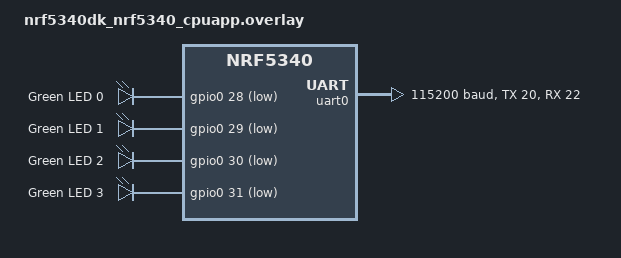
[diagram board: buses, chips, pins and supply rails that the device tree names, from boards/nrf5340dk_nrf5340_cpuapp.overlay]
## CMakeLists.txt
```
# SPDX-License-Identifier: Apache-2.0

cmake_minimum_required(VERSION 3.20.0)

# Set the board if not specified
if(NOT DEFINED BOARD)
    set(BOARD nrf5340dk_nrf5340_cpuapp)
endif()

# Find Zephyr package
find_package(Zephyr REQUIRED HINTS $ENV{ZEPHYR_BASE})

# Project definition
project(nrf5340_led_demo VERSION 1.0.0 LANGUAGES C)

# Add source files
target_sources(app PRIVATE src/main.c)

# Add include directories if needed
# target_include_directories(app PRIVATE include)

# Add compiler definitions
target_compile_definitions(app PRIVATE
    PROJECT_NAME="nRF5340 LED Demo"
    PROJECT_VERSION="${PROJECT_VERSION}"
)

# Optional: Add custom build configurations
if(CONFIG_DEBUG)
    target_compile_options(app PRIVATE -g -O0)
else()
    target_compile_options(app PRIVATE -O2)
endif()
```

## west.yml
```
# west.yml - West manifest for nRF5340 LED Demo
#
# This file defines the project dependencies and configuration
# for the West meta-tool used by Zephyr RTOS.

manifest:
  # Project definition
  projects:
    - name: nrf5340-led-demo
      path: .
      revision: main
      url: https://github.com/murr2k/nrf5340-led-demo
      description: "nRF5340 LED demonstration project using Zephyr RTOS"
      
  # Self reference
  self:
    path: nrf5340-led-demo
    
  # Default configuration
  defaults:
    remote: origin
    revision: main
    
  # Remote repositories
  remotes:
    - name: origin
      url-base: https://github.com/murr2k
      
  # West configuration
  west-commands:
    - file: scripts/west-commands.yml
      
  # Project metadata
  project:
    name: nrf5340-led-demo
    version: 1.0.0
    license: Apache-2.0
    author: Murray Kopit
    description: |
      A comprehensive LED demonstration project for the nRF5340 Development Kit
      using Zephyr RTOS. Features multiple LED patterns, logging, and robust
      error handling.
    
    # Supported boards
    boards:
      - nrf5340dk_nrf5340_cpuapp
      
    # Required Zephyr version
    zephyr:
      version: ">=3.4.0"
      
    # Build configuration
    build:
      default-board: nrf5340dk_nrf5340_cpuapp
      cmake-args:
        - -DBOARD=nrf5340dk_nrf5340_cpuapp
        - -DCONF_FILE=prj.conf
        
    # Documentation
    docs:
      build: true
      output: docs/
      
    # Testing configuration
    tests:
      enabled: true
      boards:
        - nrf5340dk_nrf5340_cpuapp
        
  # Additional metadata
  meta:
    created: "2024-07-09"
    updated: "2024-07-09"
    keywords:
      - nrf5340
      - zephyr
      - led
      - demo
      - embedded
      - nordic
      - rtos
```

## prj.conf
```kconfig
# nRF5340 LED Demo Project Configuration

# General Configuration
CONFIG_MAIN_STACK_SIZE=2048
CONFIG_SYSTEM_WORKQUEUE_STACK_SIZE=2048

# GPIO Configuration
CONFIG_GPIO=y

# Logging Configuration
CONFIG_LOG=y
CONFIG_LOG_DEFAULT_LEVEL=3
CONFIG_LOG_BACKEND_UART=y

# Console Configuration
CONFIG_CONSOLE=y
CONFIG_UART_CONSOLE=y
CONFIG_SERIAL=y

# UART Configuration for commands
CONFIG_UART_INTERRUPT_DRIVEN=y
CONFIG_UART_ASYNC_API=y

# Memory Configuration
CONFIG_HEAP_MEM_POOL_SIZE=2048

# Assert Configuration
CONFIG_ASSERT=y
CONFIG_ASSERT_LEVEL=2

# Board specific configurations
CONFIG_BOARD_ENABLE_DCDC_APP=y
CONFIG_BOARD_ENABLE_DCDC_NET=y
CONFIG_BOARD_ENABLE_CPUNET=n

# Disable features not needed for this demo
CONFIG_WATCHDOG=n
CONFIG_COUNTER=n
CONFIG_PWM=n
CONFIG_ADC=n
CONFIG_SPI=n
CONFIG_I2C=n
CONFIG_NETWORKING=n
CONFIG_BT=n
CONFIG_FILE_SYSTEM=n
```

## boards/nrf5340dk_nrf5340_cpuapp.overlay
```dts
/*
 * Copyright (c) 2024 Murray Kopit
 *
 * SPDX-License-Identifier: Apache-2.0
 */

/*
 * Device Tree Overlay for nRF5340DK LED Demo
 * 
 * This overlay ensures all 4 LEDs are properly configured
 * and accessible through the standard LED aliases.
 * 
 * nRF5340DK LED Configuration:
 * - LED0: P0.28 (Green)
 * - LED1: P0.29 (Green) 
 * - LED2: P0.30 (Green)
 * - LED3: P0.31 (Green)
 */

/ {
    aliases {
        led0 = &led0;
        led1 = &led1;
        led2 = &led2;
        led3 = &led3;
    };

    leds {
        compatible = "gpio-leds";
        
        led0: led_0 {
            gpios = <&gpio0 28 GPIO_ACTIVE_LOW>;
            label = "Green LED 0";
        };
        
        led1: led_1 {
            gpios = <&gpio0 29 GPIO_ACTIVE_LOW>;
            label = "Green LED 1";
        };
        
        led2: led_2 {
            gpios = <&gpio0 30 GPIO_ACTIVE_LOW>;
            label = "Green LED 2";
        };
        
        led3: led_3 {
            gpios = <&gpio0 31 GPIO_ACTIVE_LOW>;
            label = "Green LED 3";
        };
    };
};

/* Ensure GPIO0 is enabled */
&gpio0 {
    status = "okay";
};

/* Configure UART for console output */
&uart0 {
    status = "okay";
    current-speed = <115200>;
    tx-pin = <20>;
    rx-pin = <22>;
    rts-pin = <19>;
    cts-pin = <21>;
};

/* Disable unused peripherals to save power */
&i2c1 {
    status = "disabled";
};

&spi2 {
    status = "disabled";
};

&pwm0 {
    status = "disabled";
};

&pwm1 {
    status = "disabled";
};

&pwm2 {
    status = "disabled";
};

&pwm3 {
    status = "disabled";
};
```

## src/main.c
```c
/*
 * Copyright (c) 2024 Murray Kopit
 * nRF5340 LED Demo with Serial Commands
 * SPDX-License-Identifier: Apache-2.0
 */

#include <zephyr/kernel.h>
#include <zephyr/device.h>
#include <zephyr/drivers/gpio.h>
#include <zephyr/drivers/uart.h>
#include <zephyr/logging/log.h>
#include <string.h>
#include <stdlib.h>

LOG_MODULE_REGISTER(main, LOG_LEVEL_INF);

/* LED definitions for nRF5340 DK */
#define LED0_NODE DT_ALIAS(led0)
#define LED1_NODE DT_ALIAS(led1)
#define LED2_NODE DT_ALIAS(led2)
#define LED3_NODE DT_ALIAS(led3)

/* LED array for easier management */
static const struct gpio_dt_spec leds[] = {
    GPIO_DT_SPEC_GET(LED0_NODE, gpios),
    GPIO_DT_SPEC_GET(LED1_NODE, gpios),
    GPIO_DT_SPEC_GET(LED2_NODE, gpios),
    GPIO_DT_SPEC_GET(LED3_NODE, gpios)
};

#define NUM_LEDS ARRAY_SIZE(leds)

/* Timing configuration */
#define BLINK_DELAY_MS 500
#define SEQUENCE_DELAY_MS 200

/* LED pattern states */
typedef enum {
    PATTERN_ALL_BLINK,
    PATTERN_SEQUENCE,
    PATTERN_CHASE,
    PATTERN_BOUNCE,
    PATTERN_CUSTOM,
    PATTERN_MAX
} led_pattern_t;

static led_pattern_t current_pattern = PATTERN_ALL_BLINK;
static uint32_t pattern_counter = 0;
static bool auto_mode = true;
static uint8_t custom_led_state = 0x0F; // All LEDs on by default

/* UART console device */
static const struct device *const uart_dev = DEVICE_DT_GET(DT_CHOSEN(zephyr_console));

/* Command buffer */
#define CMD_BUFFER_SIZE 32
static char cmd_buffer[CMD_BUFFER_SIZE];
static uint8_t cmd_idx = 0;

/**
 * @brief Initialize all LEDs
 */
static int init_leds(void)
{
    int ret;
    
    for (int i = 0; i < NUM_LEDS; i++) {
        if (!gpio_is_ready_dt(&leds[i])) {
            LOG_ERR("LED %d GPIO device not ready", i);
            return -ENODEV;
        }
        
        ret = gpio_pin_configure_dt(&leds[i], GPIO_OUTPUT_INACTIVE);
        if (ret < 0) {
            LOG_ERR("Cannot configure LED %d GPIO (err %d)", i, ret);
            return ret;
        }
    }
    
    LOG_INF("All LEDs initialized successfully");
    return 0;
}

/**
 * @brief Set individual LED state
 */
static void set_led(int led_num, bool state)
{
    if (led_num >= 0 && led_num < NUM_LEDS) {
        gpio_pin_set_dt(&leds[led_num], state);
    }
}

/**
 * @brief Set all LEDs based on bitmask
 */
static void set_leds_mask(uint8_t mask)
{
    for (int i = 0; i < NUM_LEDS; i++) {
        set_led(i, (mask >> i) & 1);
    }
}

/**
 * @brief Turn all LEDs on or off
 */
static void set_all_leds(bool state)
{
    set_leds_mask(state ? 0x0F : 0x00);
}

/**
 * @brief LED Pattern Functions
 */
static void pattern_all_blink(void)
{
    static bool led_state = false;
    led_state = !led_state;
    set_all_leds(led_state);
}

static void pattern_sequence(void)
{
    static int current_led = 0;
    set_all_leds(false);
    set_led(current_led, true);
    current_led = (current_led + 1) % NUM_LEDS;
}

static void pattern_chase(void)
{
    static int current_led = 0;
    static int direction = 1;
    
    set_all_leds(false);
    set_led(current_led, true);
    
    current_led += direction;
    if (current_led >= NUM_LEDS) {
        current_led = NUM_LEDS - 2;
        direction = -1;
    } else if (current_led < 0) {
        current_led = 1;
        direction = 1;
    }
}

static void pattern_bounce(void)
{
    static int current_led = 0;
    static int direction = 1;
    static bool led_state = false;
    
    set_all_leds(false);
    for (int i = 0; i <= current_led; i++) {
        set_led(i, led_state);
    }
    
    led_state = !led_state;
    if (!led_state) {
        current_led += direction;
        if (current_led >= NUM_LEDS) {
            current_led = NUM_LEDS - 2;
            direction = -1;
        } else if (current_led < 0) {
            current_led = 1;
            direction = 1;
        }
    }
}

static void pattern_custom(void)
{
    set_leds_mask(custom_led_state);
}

/**
 * @brief Execute current LED pattern
 */
static void run_pattern(void)
{
    switch (current_pattern) {
        case PATTERN_ALL_BLINK:
            pattern_all_blink();
            break;
        case PATTERN_SEQUENCE:
            pattern_sequence();
            break;
        case PATTERN_CHASE:
            pattern_chase();
            break;
        case PATTERN_BOUNCE:
            pattern_bounce();
            break;
        case PATTERN_CUSTOM:
            pattern_custom();
            break;
        default:
            pattern_all_blink();
            break;
    }
}

/**
 * @brief Process received command
 */
static void process_command(const char *cmd)
{
    LOG_INF("Command received: %s", cmd);
    
    if (strcmp(cmd, "help") == 0) {
        printk("\n=== nRF5340 LED Demo Commands ===\n");
        printk("help          - Show this help\n");
        printk("auto          - Enable auto pattern cycling\n");
        printk("manual        - Disable auto pattern cycling\n");
        printk("pattern <0-4> - Set pattern (0=blink, 1=sequence, 2=chase, 3=bounce, 4=custom)\n");
        printk("led <0-3> <0-1> - Set individual LED (led 2 1 = turn on LED 2)\n");
        printk("leds <mask>   - Set LEDs by bitmask (leds 5 = LEDs 0,2 on)\n");
        printk("all <0-1>     - Turn all LEDs on/off\n");
        printk("status        - Show current status\n");
        printk("===============================\n");
        
    } else if (strcmp(cmd, "auto") == 0) {
        auto_mode = true;
        pattern_counter = 0;
        LOG_INF("Auto mode enabled");
        
    } else if (strcmp(cmd, "manual") == 0) {
        auto_mode = false;
        LOG_INF("Manual mode enabled");
        
    } else if (strncmp(cmd, "pattern ", 8) == 0) {
        int pattern = atoi(&cmd[8]);
        if (pattern >= 0 && pattern < PATTERN_MAX) {
            current_pattern = pattern;
            pattern_counter = 0;
            auto_mode = false;
            
            const char *pattern_names[] = {"BLINK", "SEQUENCE", "CHASE", "BOUNCE", "CUSTOM"};
            LOG_INF("Pattern set to: %s", pattern_names[pattern]);
        } else {
            LOG_ERR("Invalid pattern number: %d (0-%d)", pattern, PATTERN_MAX-1);
        }
        
    } else if (strncmp(cmd, "led ", 4) == 0) {
        // Simple parsing: "led X Y" where X is LED number, Y is state
        const char *args = &cmd[4];
        int led_num = atoi(args);
        // Find space after first number
        while (*args && *args != ' ') args++;
        if (*args == ' ') {
            args++;
            int state = atoi(args);
            if (led_num >= 0 && led_num < NUM_LEDS && (state == 0 || state == 1)) {
                set_led(led_num, state);
                current_pattern = PATTERN_CUSTOM;
                auto_mode = false;
                LOG_INF("LED %d set to %s", led_num, state ? "ON" : "OFF");
            } else {
                LOG_ERR("Invalid LED parameters (led: 0-%d, state: 0-1)", NUM_LEDS-1);
            }
        } else {
            LOG_ERR("Invalid LED command format (use: led <0-3> <0-1>)");
        }
        
    } else if (strncmp(cmd, "leds ", 5) == 0) {
        int mask = atoi(&cmd[5]);
        if (mask >= 0 && mask <= 15) {
            custom_led_state = mask;
            set_leds_mask(mask);
            current_pattern = PATTERN_CUSTOM;
            auto_mode = false;
            LOG_INF("LEDs set to mask: 0x%02X", mask);
        } else {
            LOG_ERR("Invalid LED mask: %d (0-15)", mask);
        }
        
    } else if (strncmp(cmd, "all ", 4) == 0) {
        int state = atoi(&cmd[4]);
        if (state == 0 || state == 1) {
            set_all_leds(state);
            current_pattern = PATTERN_CUSTOM;
            custom_led_state = state ? 0x0F : 0x00;
            auto_mode = false;
            LOG_INF("All LEDs set to %s", state ? "ON" : "OFF");
        } else {
            LOG_ERR("Invalid state: %d (0 or 1)", state);
        }
        
    } else if (strcmp(cmd, "status") == 0) {
        const char *pattern_names[] = {"BLINK", "SEQUENCE", "CHASE", "BOUNCE", "CUSTOM"};
        printk("\n=== Status ===\n");
        printk("Mode: %s\n", auto_mode ? "Auto" : "Manual");
        printk("Pattern: %s (%d)\n", pattern_names[current_pattern], current_pattern);
        printk("LED States: ");
        for (int i = 0; i < NUM_LEDS; i++) {
            printk("LED%d=%d ", i, (custom_led_state >> i) & 1);
        }
        printk("\n==============\n");
        
    } else {
        LOG_ERR("Unknown command: %s (type 'help' for commands)", cmd);
    }
}

/**
 * @brief UART callback for receiving characters
 */
static void uart_cb(const struct device *dev, struct uart_event *evt, void *user_data)
{
    static uint8_t rx_char;
    
    switch (evt->type) {
    case UART_RX_RDY:
        if (evt->data.rx.len == 1) {
            rx_char = evt->data.rx.buf[0];
            
            if (rx_char == '\r' || rx_char == '\n') {
                if (cmd_idx > 0) {
                    cmd_buffer[cmd_idx] = '\0';
                    process_command(cmd_buffer);
                    cmd_idx = 0;
                }
            } else if (rx_char == '\b' || rx_char == 127) { // Backspace
                if (cmd_idx > 0) {
                    cmd_idx--;
                    uart_tx(dev, "\b \b", 3, SYS_FOREVER_MS);
                }
            } else if (cmd_idx < CMD_BUFFER_SIZE - 1) {
                cmd_buffer[cmd_idx++] = rx_char;
                uart_tx(dev, &rx_char, 1, SYS_FOREVER_MS); // Echo
            }
        }
        uart_rx_enable(dev, &rx_char, 1, SYS_FOREVER_MS);
        break;
        
    case UART_RX_DISABLED:
        uart_rx_enable(dev, &rx_char, 1, SYS_FOREVER_MS);
        break;
        
    default:
        break;
    }
}

/**
 * @brief Main application entry point
 */
int main(void)
{
    int ret;
    uint8_t rx_char;
    
    LOG_INF("nRF5340 LED Demo with Commands Starting...");
    LOG_INF("Board: %s", CONFIG_BOARD);
    
    // Initialize LEDs
    ret = init_leds();
    if (ret < 0) {
        LOG_ERR("LED initialization failed: %d", ret);
        return ret;
    }
    
    // Initialize UART for commands
    if (!device_is_ready(uart_dev)) {
        LOG_ERR("UART device not ready");
        return -ENODEV;
    }
    
    uart_callback_set(uart_dev, uart_cb, NULL);
    uart_rx_enable(uart_dev, &rx_char, 1, SYS_FOREVER_MS);
    
    // Startup sequence
    LOG_INF("Running startup sequence...");
    for (int i = 0; i < 3; i++) {
        set_all_leds(true);
        k_msleep(200);
        set_all_leds(false);
        k_msleep(200);
    }
    
    printk("\n=== nRF5340 LED Demo Ready ===\n");
    printk("Type 'help' for available commands\n");
    printk("Auto mode enabled (patterns change every 10s)\n");
    printk("==============================\n");
    
    // Main loop
    while (1) {
        if (auto_mode) {
            run_pattern();
            
            // Change pattern every 50 iterations (~10 seconds)
            pattern_counter++;
            if (pattern_counter >= 50) {
                current_pattern = (current_pattern + 1) % (PATTERN_MAX - 1); // Skip CUSTOM
                pattern_counter = 0;
                set_all_leds(false);
                
                const char *pattern_names[] = {"BLINK", "SEQUENCE", "CHASE", "BOUNCE"};
                LOG_INF("Auto switched to: %s", pattern_names[current_pattern]);
            }
        } else {
            run_pattern();
        }
        
        // Different delays for different patterns
        switch (current_pattern) {
            case PATTERN_ALL_BLINK:
                k_msleep(BLINK_DELAY_MS);
                break;
            case PATTERN_SEQUENCE:
            case PATTERN_CHASE:
                k_msleep(SEQUENCE_DELAY_MS);
                break;
            case PATTERN_BOUNCE:
                k_msleep(SEQUENCE_DELAY_MS / 2);
                break;
            case PATTERN_CUSTOM:
                k_msleep(100); // Fast refresh for manual control
                break;
            default:
                k_msleep(BLINK_DELAY_MS);
                break;
        }
    }
    
    return 0;
}
```
